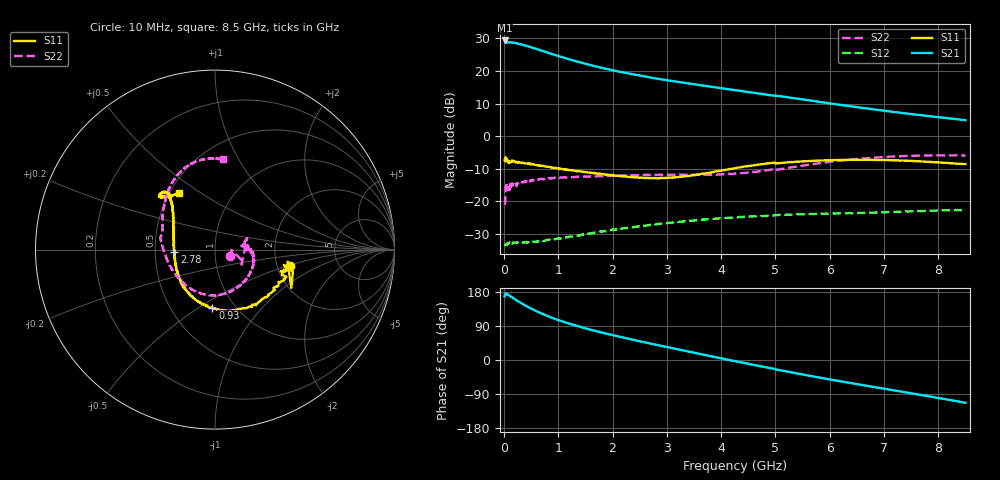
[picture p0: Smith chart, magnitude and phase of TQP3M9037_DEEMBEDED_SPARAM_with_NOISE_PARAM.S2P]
!TQP3M9037
!De-embedded S-parameters 10MHz - 8.5GHz
!Vdd = +5V, Idd = 75mA
!LOT 6052
!Agilent Technologies,E5071C,MY46214511,A.10.06
!Date: Mon Aug 10 15:33:35 2015
!Data & Calibration Information:
!Freq	S11:SOLT2(ON)	S21:SOLT2(ON)	S12:SOLT2(ON)	S22:SOLT2(ON)
!PortZ  Port1:50+j0  Port2:50+j0
!Above PortZ is port z conversion or system Z0 setting when saving the data.
!When reading, reference impedance value at option line is always used.
# Hz S dB R 50
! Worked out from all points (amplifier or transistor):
!   850 points, 10 MHz to 8.5 GHz, reference 50 ohm
!   highest |S21| = 29.3 dB at 10 MHz (marker M1)
!   |S21| within 3 dB of that: start of sweep to 667.8 MHz
!   unconditionally stable (mu >= 1): 10.2 MHz to 24.94 MHz; 41.05 MHz to end of sweep
!   at 1.42 GHz: K = 1.27, MAG = 23.3 dB, |S12| = -30.3 dB
!   at 4.26 GHz: K = 1.50, MAG = 15.3 dB, |S12| = -24.9 dB
!   at 8.5 GHz: K = 2.32, MAG = 7.2 dB, |S12| = -22.5 dB
!   lowest NFmin = 0.29 dB at 1.7 GHz
!   S11 on the Smith chart (normalised r, x): 10 MHz: 2.36, -0.52; 930 MHz: 0.79, -0.57; 2.78 GHz: 0.63, -0.02; 8.5 GHz: 0.56, +0.41
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1e7  -7.37 -12.2  29.32 168.0  -33.70 20.6  -21.01 -24.6
5e7  -7.42 -14.2  28.63 173.1  -33.31 6.9  -14.39 19.8
7e7  -8.11 -12.6  28.76 172.1  -33.04 5.7  -15.67 11.4
1.6e8  -7.54 -23.6  28.64 164.4  -32.64 5.9  -15.05 -1.0
2.8e8  -8.03 -35.0  28.23 153.3  -32.52 6.7  -14.17 0.5
3.8e8  -8.33 -46.1  27.81 144.7  -32.59 7.5  -13.95 -1.1
4.8e8  -8.65 -56.0  27.33 136.9  -32.56 9.7  -13.88 -4.5
6.7e8  -9.00 -72.5  26.31 124.0  -32.23 13.8  -13.12 -12.2
9.3e8  -9.74 -92.5  24.90 108.9  -31.61 16.0  -12.84 -22.0
1.15e9  -10.34 -105.9  23.78 98.2  -30.94 19.2  -12.64 -31.0
1.43e9  -10.91 -119.9  22.46 86.2  -30.28 19.4  -12.49 -42.8
1.71e9  -11.43 -132.0  21.29 75.6  -29.48 19.2  -12.24 -53.7
2.01e9  -12.00 -144.6  20.16 65.1  -28.56 18.5  -12.07 -66.6
2.39e9  -12.55 -159.2  18.89 52.8  -27.86 16.5  -12.00 -81.6
2.78e9  -12.88 -176.1  17.72 40.7  -27.02 13.2  -11.81 -97.1
2.84e9  -12.87 -178.3  17.57 38.9  -26.81 13.0  -11.84 -98.9
3.52e9  -11.94 155.2  15.83 18.6  -25.79 5.7  -11.82 -126.7
4.26e9  -9.81 137.0  14.10 -3.1  -24.91 -3.6  -11.43 -160.7
5.04e9  -8.36 129.6  12.34 -25.6  -24.09 -14.7  -10.25 161.3
5.67e9  -7.56 130.2  10.85 -42.7  -23.85 -23.4  -8.59 140.3
7.09e9  -7.32 136.1  7.60 -77.8  -23.23 -41.1  -6.28 110.8
8.5e9  -8.55 122.7  4.90 -112.9  -22.49 -63.1  -5.93 85.0
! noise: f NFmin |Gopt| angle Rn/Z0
1.5e+09  0.4037  0.1542  14.1  0.08029
1.7e+09  0.2935  0.1644  43.76  0.06499
1.8e+09  0.3231  0.1304  55.15  0.06053
1.9e+09  0.3015  0.1159  30.2  0.06569
2e+09  0.3283  0.1143  65.3  0.05345
2.1e+09  0.3283  0.1316  77.61  0.05588
2.2e+09  0.3537  0.1386  89.07  0.04989
2.4e+09  0.4334  0.05819  85.88  0.05879
2.5e+09  0.5114  0.02463  42.1  0.06693
2.7e+09  0.4672  0.06991  148.6  0.05562
